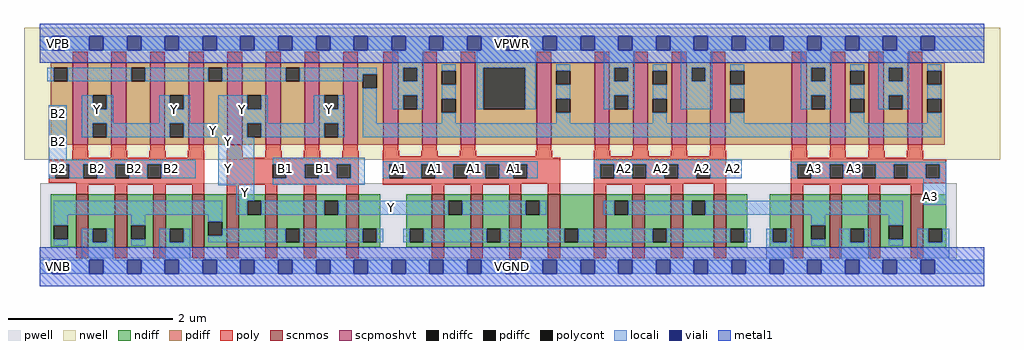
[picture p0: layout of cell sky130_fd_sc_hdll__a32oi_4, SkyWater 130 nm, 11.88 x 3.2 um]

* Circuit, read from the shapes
.subckt sky130_fd_sc_hdll__a32oi_4 A1 A2 A3 B1 B2 VGND VNB VPB VPWR Y
XM1 VGND B2 n1 VNB sky130_fd_pr__nfet_01v8 w=0.65 l=0.15 m=4
XM2 Y B1 n1 VNB sky130_fd_pr__nfet_01v8 w=0.65 l=0.15 m=4
XM3 Y A1 n2 VNB sky130_fd_pr__nfet_01v8 w=0.65 l=0.15 m=4
XM4 n3 A2 n2 VNB sky130_fd_pr__nfet_01v8 w=0.65 l=0.15 m=4
XM5 n3 A3 VGND VNB sky130_fd_pr__nfet_01v8 w=0.65 l=0.15 m=4
XM6 Y B2 n4 VPB sky130_fd_pr__pfet_01v8_hvt w=1 l=0.18 m=4
XM7 Y B1 n4 VPB sky130_fd_pr__pfet_01v8_hvt w=1 l=0.18 m=4
XM8 VPWR A1 n4 VPB sky130_fd_pr__pfet_01v8_hvt w=1 l=0.18 m=4
XM9 VPWR A2 n4 VPB sky130_fd_pr__pfet_01v8_hvt w=1 l=0.18 m=4
XM10 VPWR A3 n4 VPB sky130_fd_pr__pfet_01v8_hvt w=1 l=0.18 m=4
.ends

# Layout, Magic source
magic
tech sky130A
magscale 1 2
<< nwell >>
rect -38 261 2338 582
<< pwell >>
rect 1 21 2233 203
rect 30 -17 64 21
<< scnmos >>
rect 89 47 119 177
rect 183 47 213 177
rect 277 47 307 177
rect 371 47 401 177
rect 455 47 485 177
rect 549 47 579 177
rect 643 47 673 177
rect 747 47 777 177
rect 955 47 985 177
rect 1049 47 1079 177
rect 1143 47 1173 177
rect 1237 47 1267 177
rect 1349 47 1379 177
rect 1443 47 1473 177
rect 1537 47 1567 177
rect 1641 47 1671 177
rect 1829 47 1859 177
rect 1923 47 1953 177
rect 2017 47 2047 177
rect 2121 47 2151 177
<< scpmoshvt >>
rect 81 297 117 497
rect 175 297 211 497
rect 269 297 305 497
rect 363 297 399 497
rect 457 297 493 497
rect 551 297 587 497
rect 645 297 681 497
rect 739 297 775 497
rect 837 297 873 497
rect 931 297 967 497
rect 1025 297 1061 497
rect 1210 297 1246 497
rect 1351 297 1387 497
rect 1445 297 1481 497
rect 1539 297 1575 497
rect 1633 297 1669 497
rect 1831 297 1867 497
rect 1925 297 1961 497
rect 2019 297 2055 497
rect 2113 297 2149 497
<< ndiff >>
rect 27 101 89 177
rect 27 67 35 101
rect 69 67 89 101
rect 27 47 89 67
rect 119 93 183 177
rect 119 59 129 93
rect 163 59 183 93
rect 119 47 183 59
rect 213 101 277 177
rect 213 67 223 101
rect 257 67 277 101
rect 213 47 277 67
rect 307 93 371 177
rect 307 59 317 93
rect 351 59 371 93
rect 307 47 371 59
rect 401 109 455 177
rect 401 75 411 109
rect 445 75 455 109
rect 401 47 455 75
rect 485 161 549 177
rect 485 127 505 161
rect 539 127 549 161
rect 485 47 549 127
rect 579 93 643 177
rect 579 59 599 93
rect 633 59 643 93
rect 579 47 643 59
rect 673 161 747 177
rect 673 127 693 161
rect 727 127 747 161
rect 673 47 747 127
rect 777 93 829 177
rect 777 59 787 93
rect 821 59 829 93
rect 777 47 829 59
rect 893 93 955 177
rect 893 59 901 93
rect 935 59 955 93
rect 893 47 955 59
rect 985 161 1049 177
rect 985 127 995 161
rect 1029 127 1049 161
rect 985 47 1049 127
rect 1079 93 1143 177
rect 1079 59 1089 93
rect 1123 59 1143 93
rect 1079 47 1143 59
rect 1173 161 1237 177
rect 1173 127 1183 161
rect 1217 127 1237 161
rect 1173 47 1237 127
rect 1267 93 1349 177
rect 1267 59 1277 93
rect 1311 59 1349 93
rect 1267 47 1349 59
rect 1379 161 1443 177
rect 1379 127 1399 161
rect 1433 127 1443 161
rect 1379 47 1443 127
rect 1473 93 1537 177
rect 1473 59 1493 93
rect 1527 59 1537 93
rect 1473 47 1537 59
rect 1567 161 1641 177
rect 1567 127 1587 161
rect 1621 127 1641 161
rect 1567 47 1641 127
rect 1671 93 1723 177
rect 1671 59 1681 93
rect 1715 59 1723 93
rect 1671 47 1723 59
rect 1777 93 1829 177
rect 1777 59 1785 93
rect 1819 59 1829 93
rect 1777 47 1829 59
rect 1859 101 1923 177
rect 1859 67 1879 101
rect 1913 67 1923 101
rect 1859 47 1923 67
rect 1953 93 2017 177
rect 1953 59 1973 93
rect 2007 59 2017 93
rect 1953 47 2017 59
rect 2047 101 2121 177
rect 2047 67 2067 101
rect 2101 67 2121 101
rect 2047 47 2121 67
rect 2151 93 2207 177
rect 2151 59 2163 93
rect 2197 59 2207 93
rect 2151 47 2207 59
<< pdiff >>
rect 27 485 81 497
rect 27 451 35 485
rect 69 451 81 485
rect 27 297 81 451
rect 117 417 175 497
rect 117 383 129 417
rect 163 383 175 417
rect 117 349 175 383
rect 117 315 129 349
rect 163 315 175 349
rect 117 297 175 315
rect 211 485 269 497
rect 211 451 223 485
rect 257 451 269 485
rect 211 297 269 451
rect 305 417 363 497
rect 305 383 317 417
rect 351 383 363 417
rect 305 349 363 383
rect 305 315 317 349
rect 351 315 363 349
rect 305 297 363 315
rect 399 485 457 497
rect 399 451 411 485
rect 445 451 457 485
rect 399 297 457 451
rect 493 417 551 497
rect 493 383 505 417
rect 539 383 551 417
rect 493 349 551 383
rect 493 315 505 349
rect 539 315 551 349
rect 493 297 551 315
rect 587 485 645 497
rect 587 451 599 485
rect 633 451 645 485
rect 587 297 645 451
rect 681 417 739 497
rect 681 383 693 417
rect 727 383 739 417
rect 681 349 739 383
rect 681 315 693 349
rect 727 315 739 349
rect 681 297 739 315
rect 775 469 837 497
rect 775 435 787 469
rect 821 435 837 469
rect 775 297 837 435
rect 873 485 931 497
rect 873 451 885 485
rect 919 451 931 485
rect 873 417 931 451
rect 873 383 885 417
rect 919 383 931 417
rect 873 297 931 383
rect 967 477 1025 497
rect 967 443 979 477
rect 1013 443 1025 477
rect 967 409 1025 443
rect 967 375 979 409
rect 1013 375 1025 409
rect 967 297 1025 375
rect 1061 485 1210 497
rect 1061 383 1080 485
rect 1182 383 1210 485
rect 1061 297 1210 383
rect 1246 477 1351 497
rect 1246 443 1258 477
rect 1292 443 1351 477
rect 1246 409 1351 443
rect 1246 375 1258 409
rect 1292 375 1351 409
rect 1246 297 1351 375
rect 1387 485 1445 497
rect 1387 451 1399 485
rect 1433 451 1445 485
rect 1387 417 1445 451
rect 1387 383 1399 417
rect 1433 383 1445 417
rect 1387 297 1445 383
rect 1481 477 1539 497
rect 1481 443 1493 477
rect 1527 443 1539 477
rect 1481 409 1539 443
rect 1481 375 1493 409
rect 1527 375 1539 409
rect 1481 297 1539 375
rect 1575 485 1633 497
rect 1575 451 1587 485
rect 1621 451 1633 485
rect 1575 297 1633 451
rect 1669 477 1831 497
rect 1669 443 1681 477
rect 1715 443 1831 477
rect 1669 409 1831 443
rect 1669 375 1681 409
rect 1715 375 1831 409
rect 1669 297 1831 375
rect 1867 485 1925 497
rect 1867 451 1879 485
rect 1913 451 1925 485
rect 1867 417 1925 451
rect 1867 383 1879 417
rect 1913 383 1925 417
rect 1867 297 1925 383
rect 1961 477 2019 497
rect 1961 443 1973 477
rect 2007 443 2019 477
rect 1961 409 2019 443
rect 1961 375 1973 409
rect 2007 375 2019 409
rect 1961 297 2019 375
rect 2055 485 2113 497
rect 2055 451 2067 485
rect 2101 451 2113 485
rect 2055 417 2113 451
rect 2055 383 2067 417
rect 2101 383 2113 417
rect 2055 297 2113 383
rect 2149 477 2203 497
rect 2149 443 2161 477
rect 2195 443 2203 477
rect 2149 409 2203 443
rect 2149 375 2161 409
rect 2195 375 2203 409
rect 2149 297 2203 375
<< ndiffc >>
rect 35 67 69 101
rect 129 59 163 93
rect 223 67 257 101
rect 317 59 351 93
rect 411 75 445 109
rect 505 127 539 161
rect 599 59 633 93
rect 693 127 727 161
rect 787 59 821 93
rect 901 59 935 93
rect 995 127 1029 161
rect 1089 59 1123 93
rect 1183 127 1217 161
rect 1277 59 1311 93
rect 1399 127 1433 161
rect 1493 59 1527 93
rect 1587 127 1621 161
rect 1681 59 1715 93
rect 1785 59 1819 93
rect 1879 67 1913 101
rect 1973 59 2007 93
rect 2067 67 2101 101
rect 2163 59 2197 93
<< pdiffc >>
rect 35 451 69 485
rect 129 383 163 417
rect 129 315 163 349
rect 223 451 257 485
rect 317 383 351 417
rect 317 315 351 349
rect 411 451 445 485
rect 505 383 539 417
rect 505 315 539 349
rect 599 451 633 485
rect 693 383 727 417
rect 693 315 727 349
rect 787 435 821 469
rect 885 451 919 485
rect 885 383 919 417
rect 979 443 1013 477
rect 979 375 1013 409
rect 1080 383 1182 485
rect 1258 443 1292 477
rect 1258 375 1292 409
rect 1399 451 1433 485
rect 1399 383 1433 417
rect 1493 443 1527 477
rect 1493 375 1527 409
rect 1587 451 1621 485
rect 1681 443 1715 477
rect 1681 375 1715 409
rect 1879 451 1913 485
rect 1879 383 1913 417
rect 1973 443 2007 477
rect 1973 375 2007 409
rect 2067 451 2101 485
rect 2067 383 2101 417
rect 2161 443 2195 477
rect 2161 375 2195 409
<< poly >>
rect 81 497 117 523
rect 175 497 211 523
rect 269 497 305 523
rect 363 497 399 523
rect 457 497 493 523
rect 551 497 587 523
rect 645 497 681 523
rect 739 497 775 523
rect 837 497 873 523
rect 931 497 967 523
rect 1025 497 1061 523
rect 1210 497 1246 523
rect 1351 497 1387 523
rect 1445 497 1481 523
rect 1539 497 1575 523
rect 1633 497 1669 523
rect 1831 497 1867 523
rect 1925 497 1961 523
rect 2019 497 2055 523
rect 2113 497 2149 523
rect 81 282 117 297
rect 175 282 211 297
rect 269 282 305 297
rect 363 282 399 297
rect 457 282 493 297
rect 551 282 587 297
rect 645 282 681 297
rect 739 282 775 297
rect 837 282 873 297
rect 931 282 967 297
rect 1025 282 1061 297
rect 1210 282 1246 297
rect 1351 282 1387 297
rect 1445 282 1481 297
rect 1539 282 1575 297
rect 1633 282 1669 297
rect 1831 282 1867 297
rect 1925 282 1961 297
rect 2019 282 2055 297
rect 2113 282 2149 297
rect 79 265 119 282
rect 173 265 213 282
rect 267 265 307 282
rect 361 265 401 282
rect 79 261 401 265
rect 22 249 401 261
rect 22 215 38 249
rect 72 215 106 249
rect 140 215 184 249
rect 218 215 262 249
rect 296 215 401 249
rect 22 205 401 215
rect 89 199 401 205
rect 89 177 119 199
rect 183 177 213 199
rect 277 177 307 199
rect 371 177 401 199
rect 455 265 495 282
rect 549 265 589 282
rect 643 265 683 282
rect 737 265 777 282
rect 455 249 777 265
rect 455 215 567 249
rect 601 215 645 249
rect 679 215 723 249
rect 757 215 777 249
rect 455 199 777 215
rect 835 269 875 282
rect 929 269 969 282
rect 1023 269 1063 282
rect 1208 269 1248 282
rect 835 265 1248 269
rect 1349 269 1389 282
rect 1443 269 1483 282
rect 1537 269 1577 282
rect 1631 269 1671 282
rect 835 249 1267 265
rect 835 215 851 249
rect 885 215 929 249
rect 963 215 1007 249
rect 1041 215 1085 249
rect 1119 215 1153 249
rect 1187 215 1267 249
rect 835 202 1267 215
rect 835 199 1173 202
rect 455 177 485 199
rect 549 177 579 199
rect 643 177 673 199
rect 747 177 777 199
rect 955 177 985 199
rect 1049 177 1079 199
rect 1143 177 1173 199
rect 1237 177 1267 202
rect 1349 249 1671 269
rect 1349 215 1365 249
rect 1399 215 1443 249
rect 1477 215 1521 249
rect 1555 215 1599 249
rect 1633 215 1671 249
rect 1349 202 1671 215
rect 1349 199 1567 202
rect 1349 177 1379 199
rect 1443 177 1473 199
rect 1537 177 1567 199
rect 1641 177 1671 202
rect 1829 265 1869 282
rect 1923 265 1963 282
rect 2017 265 2057 282
rect 2111 265 2151 282
rect 1829 261 2151 265
rect 1829 249 2207 261
rect 1829 215 1845 249
rect 1879 215 1923 249
rect 1957 215 2001 249
rect 2035 215 2079 249
rect 2113 215 2157 249
rect 2191 215 2207 249
rect 1829 203 2207 215
rect 1829 199 2151 203
rect 1829 177 1859 199
rect 1923 177 1953 199
rect 2017 177 2047 199
rect 2121 177 2151 199
rect 89 21 119 47
rect 183 21 213 47
rect 277 21 307 47
rect 371 21 401 47
rect 455 21 485 47
rect 549 21 579 47
rect 643 21 673 47
rect 747 21 777 47
rect 955 21 985 47
rect 1049 21 1079 47
rect 1143 21 1173 47
rect 1237 21 1267 47
rect 1349 21 1379 47
rect 1443 21 1473 47
rect 1537 21 1567 47
rect 1641 21 1671 47
rect 1829 21 1859 47
rect 1923 21 1953 47
rect 2017 21 2047 47
rect 2121 21 2151 47
<< polycont >>
rect 38 215 72 249
rect 106 215 140 249
rect 184 215 218 249
rect 262 215 296 249
rect 567 215 601 249
rect 645 215 679 249
rect 723 215 757 249
rect 851 215 885 249
rect 929 215 963 249
rect 1007 215 1041 249
rect 1085 215 1119 249
rect 1153 215 1187 249
rect 1365 215 1399 249
rect 1443 215 1477 249
rect 1521 215 1555 249
rect 1599 215 1633 249
rect 1845 215 1879 249
rect 1923 215 1957 249
rect 2001 215 2035 249
rect 2079 215 2113 249
rect 2157 215 2191 249
<< locali >>
rect 0 527 29 561
rect 63 527 121 561
rect 155 527 213 561
rect 247 527 305 561
rect 339 527 397 561
rect 431 527 489 561
rect 523 527 581 561
rect 615 527 673 561
rect 707 527 765 561
rect 799 527 857 561
rect 891 527 949 561
rect 983 527 1041 561
rect 1075 527 1133 561
rect 1167 527 1225 561
rect 1259 527 1317 561
rect 1351 527 1409 561
rect 1443 527 1501 561
rect 1535 527 1593 561
rect 1627 527 1685 561
rect 1719 527 1777 561
rect 1811 527 1869 561
rect 1903 527 1961 561
rect 1995 527 2053 561
rect 2087 527 2145 561
rect 2179 527 2300 561
rect 859 485 935 527
rect 19 451 35 485
rect 69 451 223 485
rect 257 451 411 485
rect 445 451 599 485
rect 633 469 821 485
rect 633 451 787 469
rect 22 261 66 393
rect 103 383 129 417
rect 163 383 179 417
rect 103 349 179 383
rect 291 383 317 417
rect 351 383 367 417
rect 291 349 367 383
rect 435 383 505 417
rect 539 383 555 417
rect 435 349 555 383
rect 667 383 693 417
rect 727 383 743 417
rect 667 349 743 383
rect 103 315 129 349
rect 163 315 317 349
rect 351 315 505 349
rect 539 315 693 349
rect 727 315 743 349
rect 787 349 821 435
rect 859 451 885 485
rect 919 451 935 485
rect 859 417 935 451
rect 859 383 885 417
rect 919 383 935 417
rect 979 477 1013 493
rect 979 409 1013 443
rect 1064 485 1208 527
rect 1064 383 1080 485
rect 1182 383 1208 485
rect 1258 477 1292 493
rect 1258 409 1292 443
rect 979 349 1013 375
rect 1373 485 1449 527
rect 1373 451 1399 485
rect 1433 451 1449 485
rect 1373 417 1449 451
rect 1373 383 1399 417
rect 1433 383 1449 417
rect 1493 477 1527 493
rect 1493 409 1527 443
rect 1258 349 1292 375
rect 1561 485 1637 527
rect 1561 451 1587 485
rect 1621 451 1637 485
rect 1561 383 1637 451
rect 1681 477 1715 493
rect 1681 409 1715 443
rect 1493 349 1527 375
rect 1853 485 1929 527
rect 1853 451 1879 485
rect 1913 451 1929 485
rect 1853 417 1929 451
rect 1853 383 1879 417
rect 1913 383 1929 417
rect 1973 477 2007 493
rect 1973 409 2007 443
rect 1681 349 1715 375
rect 2041 485 2117 527
rect 2041 451 2067 485
rect 2101 451 2117 485
rect 2041 417 2117 451
rect 2041 383 2067 417
rect 2101 383 2117 417
rect 2161 477 2195 493
rect 2161 409 2195 443
rect 1973 349 2007 375
rect 2161 349 2195 375
rect 787 315 2195 349
rect 22 249 380 261
rect 22 215 38 249
rect 72 215 106 249
rect 140 215 184 249
rect 218 215 262 249
rect 296 215 380 249
rect 435 198 523 315
rect 567 249 791 265
rect 601 215 645 249
rect 679 215 723 249
rect 757 215 791 249
rect 835 249 1213 257
rect 835 215 851 249
rect 885 215 929 249
rect 963 215 1007 249
rect 1041 215 1085 249
rect 1119 215 1153 249
rect 1187 215 1213 249
rect 1349 249 1709 260
rect 1349 215 1365 249
rect 1399 215 1443 249
rect 1477 215 1521 249
rect 1555 215 1599 249
rect 1633 215 1709 249
rect 1829 249 2207 256
rect 1829 215 1845 249
rect 1879 215 1923 249
rect 1957 215 2001 249
rect 2035 215 2079 249
rect 2113 215 2157 249
rect 2191 215 2207 249
rect 567 199 791 215
rect 479 161 523 198
rect 35 127 445 161
rect 479 127 505 161
rect 539 127 693 161
rect 727 127 995 161
rect 1029 127 1183 161
rect 1217 127 1233 161
rect 1373 127 1399 161
rect 1433 127 1587 161
rect 1621 127 2101 161
rect 2151 151 2207 215
rect 35 101 69 127
rect 223 101 257 127
rect 35 51 69 67
rect 103 59 129 93
rect 163 59 179 93
rect 103 17 179 59
rect 411 109 445 127
rect 223 51 257 67
rect 291 59 317 93
rect 351 59 367 93
rect 1879 101 1913 127
rect 445 75 599 93
rect 411 59 599 75
rect 633 59 787 93
rect 821 59 837 93
rect 885 59 901 93
rect 935 59 1089 93
rect 1123 59 1277 93
rect 1311 59 1493 93
rect 1527 59 1681 93
rect 1715 59 1731 93
rect 1769 59 1785 93
rect 1819 59 1835 93
rect 291 17 367 59
rect 1769 17 1835 59
rect 2067 101 2101 127
rect 1879 51 1913 67
rect 1947 59 1973 93
rect 2007 59 2023 93
rect 1947 17 2023 59
rect 2067 51 2101 67
rect 2137 59 2163 93
rect 2197 59 2215 93
rect 2137 17 2215 59
rect 0 -17 29 17
rect 63 -17 121 17
rect 155 -17 213 17
rect 247 -17 305 17
rect 339 -17 397 17
rect 431 -17 489 17
rect 523 -17 581 17
rect 615 -17 673 17
rect 707 -17 765 17
rect 799 -17 857 17
rect 891 -17 949 17
rect 983 -17 1041 17
rect 1075 -17 1133 17
rect 1167 -17 1225 17
rect 1259 -17 1317 17
rect 1351 -17 1409 17
rect 1443 -17 1501 17
rect 1535 -17 1593 17
rect 1627 -17 1685 17
rect 1719 -17 1777 17
rect 1811 -17 1869 17
rect 1903 -17 1961 17
rect 1995 -17 2053 17
rect 2087 -17 2145 17
rect 2179 -17 2300 17
<< viali >>
rect 29 527 63 561
rect 121 527 155 561
rect 213 527 247 561
rect 305 527 339 561
rect 397 527 431 561
rect 489 527 523 561
rect 581 527 615 561
rect 673 527 707 561
rect 765 527 799 561
rect 857 527 891 561
rect 949 527 983 561
rect 1041 527 1075 561
rect 1133 527 1167 561
rect 1225 527 1259 561
rect 1317 527 1351 561
rect 1409 527 1443 561
rect 1501 527 1535 561
rect 1593 527 1627 561
rect 1685 527 1719 561
rect 1777 527 1811 561
rect 1869 527 1903 561
rect 1961 527 1995 561
rect 2053 527 2087 561
rect 2145 527 2179 561
rect 29 -17 63 17
rect 121 -17 155 17
rect 213 -17 247 17
rect 305 -17 339 17
rect 397 -17 431 17
rect 489 -17 523 17
rect 581 -17 615 17
rect 673 -17 707 17
rect 765 -17 799 17
rect 857 -17 891 17
rect 949 -17 983 17
rect 1041 -17 1075 17
rect 1133 -17 1167 17
rect 1225 -17 1259 17
rect 1317 -17 1351 17
rect 1409 -17 1443 17
rect 1501 -17 1535 17
rect 1593 -17 1627 17
rect 1685 -17 1719 17
rect 1777 -17 1811 17
rect 1869 -17 1903 17
rect 1961 -17 1995 17
rect 2053 -17 2087 17
rect 2145 -17 2179 17
<< metal1 >>
rect 0 561 2300 592
rect 0 527 29 561
rect 63 527 121 561
rect 155 527 213 561
rect 247 527 305 561
rect 339 527 397 561
rect 431 527 489 561
rect 523 527 581 561
rect 615 527 673 561
rect 707 527 765 561
rect 799 527 857 561
rect 891 527 949 561
rect 983 527 1041 561
rect 1075 527 1133 561
rect 1167 527 1225 561
rect 1259 527 1317 561
rect 1351 527 1409 561
rect 1443 527 1501 561
rect 1535 527 1593 561
rect 1627 527 1685 561
rect 1719 527 1777 561
rect 1811 527 1869 561
rect 1903 527 1961 561
rect 1995 527 2053 561
rect 2087 527 2145 561
rect 2179 527 2300 561
rect 0 496 2300 527
rect 0 17 2300 48
rect 0 -17 29 17
rect 63 -17 121 17
rect 155 -17 213 17
rect 247 -17 305 17
rect 339 -17 397 17
rect 431 -17 489 17
rect 523 -17 581 17
rect 615 -17 673 17
rect 707 -17 765 17
rect 799 -17 857 17
rect 891 -17 949 17
rect 983 -17 1041 17
rect 1075 -17 1133 17
rect 1167 -17 1225 17
rect 1259 -17 1317 17
rect 1351 -17 1409 17
rect 1443 -17 1501 17
rect 1535 -17 1593 17
rect 1627 -17 1685 17
rect 1719 -17 1777 17
rect 1811 -17 1869 17
rect 1903 -17 1961 17
rect 1995 -17 2053 17
rect 2087 -17 2145 17
rect 2179 -17 2300 17
rect 0 -48 2300 -17
<< labels >>
flabel locali s 1968 221 2002 255 0 FreeSans 200 0 0 0 A3
port 3 nsew signal input
flabel locali s 1864 221 1908 255 0 FreeSans 200 0 0 0 A3
port 3 nsew signal input
flabel locali s 1673 221 1707 255 0 FreeSans 200 0 0 0 A2
port 2 nsew signal input
flabel locali s 1498 221 1532 255 0 FreeSans 200 0 0 0 A2
port 2 nsew signal input
flabel locali s 1402 221 1446 255 0 FreeSans 200 0 0 0 A2
port 2 nsew signal input
flabel locali s 1596 221 1630 255 0 FreeSans 200 0 0 0 A2
port 2 nsew signal input
flabel locali s 947 221 981 255 0 FreeSans 200 0 0 0 A1
port 1 nsew signal input
flabel locali s 859 221 893 255 0 FreeSans 200 0 0 0 A1
port 1 nsew signal input
flabel locali s 1138 221 1172 255 0 FreeSans 200 0 0 0 A1
port 1 nsew signal input
flabel locali s 2153 153 2187 187 0 FreeSans 200 0 0 0 A3
port 3 nsew signal input
flabel locali s 673 221 707 255 0 FreeSans 200 0 0 0 B1
port 4 nsew signal input
flabel locali s 667 349 743 417 0 FreeSans 200 0 0 0 Y
port 10 nsew signal output
flabel locali s 30 221 64 255 0 FreeSans 200 0 0 0 B2
port 5 nsew signal input
flabel locali s 214 221 248 255 0 FreeSans 200 0 0 0 B2
port 5 nsew signal input
flabel locali s 123 221 157 255 0 FreeSans 200 0 0 0 B2
port 5 nsew signal input
flabel locali s 30 289 64 323 0 FreeSans 200 0 0 0 B2
port 5 nsew signal input
flabel locali s 30 357 64 391 0 FreeSans 200 0 0 0 B2
port 5 nsew signal input
flabel locali s 305 221 339 255 0 FreeSans 200 0 0 0 B2
port 5 nsew signal input
flabel locali s 459 238 459 238 0 FreeSans 200 0 0 0 Y
port 10 nsew
flabel locali s 459 306 459 306 0 FreeSans 200 0 0 0 Y
port 10 nsew
flabel locali s 581 221 615 255 0 FreeSans 200 0 0 0 B1
port 4 nsew signal input
flabel locali s 1041 221 1075 255 0 FreeSans 200 0 0 0 A1
port 1 nsew signal input
flabel pwell s 30 -17 64 17 0 FreeSans 200 0 0 0 VNB
port 7 nsew ground bidirectional
flabel pwell s 47 0 47 0 0 FreeSans 200 0 0 0 VNB
port 7 nsew
flabel nwell s 30 527 64 561 0 FreeSans 200 0 0 0 VPB
port 8 nsew power bidirectional
flabel nwell s 47 544 47 544 0 FreeSans 200 0 0 0 VPB
port 8 nsew
flabel metal1 s 30 -17 64 17 0 FreeSans 200 0 0 0 VGND
port 6 nsew ground bidirectional
flabel metal1 s 46 0 46 0 0 FreeSans 200 0 0 0 VGND
port 6 nsew
flabel metal1 s 30 527 64 561 0 FreeSans 200 0 0 0 VPWR
port 9 nsew power bidirectional
flabel metal1 s 46 544 46 544 0 FreeSans 200 0 0 0 VPWR
port 9 nsew
rlabel locali s 479 161 523 198 1 Y
port 10 nsew signal output
rlabel locali s 479 127 1233 161 1 Y
port 10 nsew signal output
rlabel locali s 435 349 555 417 1 Y
port 10 nsew signal output
rlabel locali s 435 198 523 315 1 Y
port 10 nsew signal output
rlabel locali s 291 349 367 417 1 Y
port 10 nsew signal output
rlabel locali s 103 349 179 417 1 Y
port 10 nsew signal output
rlabel locali s 103 315 743 349 1 Y
port 10 nsew signal output
rlabel metal1 s 0 -48 2300 48 1 VGND
port 6 nsew ground bidirectional
rlabel metal1 s 0 496 2300 592 1 VPWR
port 9 nsew power bidirectional
<< properties >>
string LEFsite unithd
string LEFclass CORE
string FIXED_BBOX 0 0 2300 544
string GDS_FILE $PDKPATH/libs.ref/sky130_fd_sc_hdll/gds/sky130_fd_sc_hdll.gds
string LEFsymmetry X Y R90
string GDS_END 980006
string GDS_START 963262
string LEFproperties maskLayoutSubType "abstract" prCellType "standard" originalViewName "layout"
<< end >>
